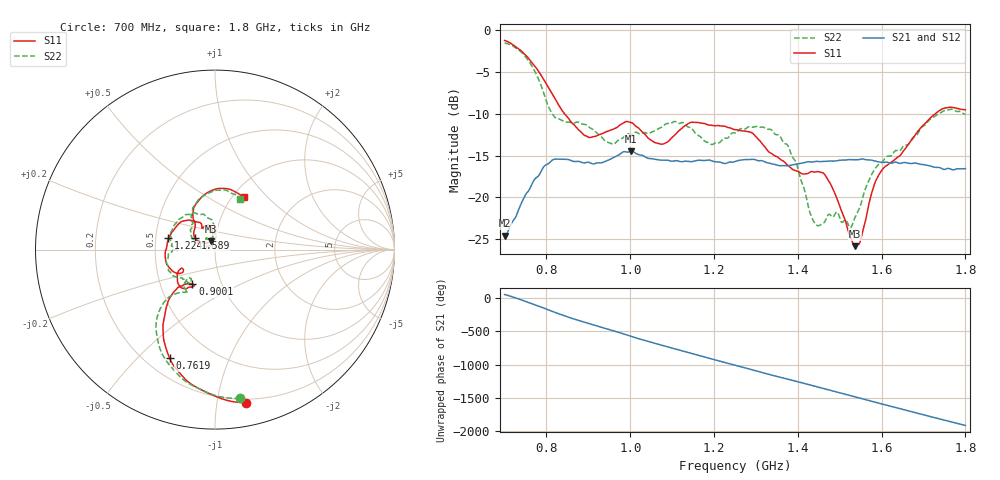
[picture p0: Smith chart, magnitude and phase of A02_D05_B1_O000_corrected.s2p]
! Created with skrf 1.9.0 (http://scikit-rf.org).
# Hz S RI R 50.0
!freq ReS11 ImS11 ReS21 ImS21 ReS12 ImS12 ReS22 ImS22
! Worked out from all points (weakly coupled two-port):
!   1601 points, 700 MHz to 1.8 GHz, reference 50 ohm
!   highest |S21| = -14.50 dB at 1.002 GHz (marker M1); lowest = -24.6 dB at 700.7 MHz (marker M2)
!   lowest |S11| = -25.9 dB at 1.537 GHz (marker M3), VSWR 1.11, Z = 47.6 + j4.38 ohm
!   |S11| at or under -10 dB: 843 MHz to 1.728 GHz (884.7 MHz wide, 68.8 % of centre)
!   |S22| runs from -23.7 to -1.5 dB; largest |S21 - S12| = 0.0036
!   S11 on the Smith chart (normalised r, x): 700 MHz: 0.17, -1.20; 761.9 MHz: 0.29, -0.62; 900.1 MHz: 0.73, -0.29; 1.224 GHz: 0.58, +0.08; 1.589 GHz: 0.79, +0.11; 1.8 GHz: 1.13, +0.74
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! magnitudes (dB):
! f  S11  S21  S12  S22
! 700 MHz  -1.2  -24.6  -24.4  -1.5
! 700.7 MHz  -1.2  -24.6  -24.3  -1.5
! 761.9 MHz  -3.7  -18.8  -18.7  -4.0
! 817.6 MHz  -7.9  -15.5  -15.6  -10.3
! 883.6 MHz  -12.2  -15.8  -15.7  -11.2
! 900.1 MHz  -12.8  -15.8  -15.8  -11.5
! 956.4 MHz  -11.9  -15.3  -15.3  -13.6
! 1.002 GHz  -11.1  -14.5  -14.6  -12.5
! 1.067 GHz  -13.6  -15.5  -15.5  -11.8
! 1.144 GHz  -11.0  -15.7  -15.7  -11.7
! 1.224 GHz  -11.5  -15.9  -15.9  -12.9
! 1.25 GHz  -11.9  -15.7  -15.7  -12.3
! 1.357 GHz  -15.4  -16.2  -16.2  -12.6
! 1.396 GHz  -16.8  -16.0  -16.0  -15.8
! 1.434 GHz  -16.9  -15.8  -15.7  -22.5
! 1.474 GHz  -18.1  -15.7  -15.7  -22.0
! 1.537 GHz  -25.9  -15.5  -15.5  -22.4
! 1.55 GHz  -25.0  -15.4  -15.5  -20.9
! 1.589 GHz  -17.7  -15.7  -15.7  -16.3
! 1.617 GHz  -16.0  -15.9  -15.8  -15.1
! 1.734 GHz  -9.7  -16.4  -16.5  -10.1
! 1.8 GHz  -9.5  -16.6  -16.6  -10.1
